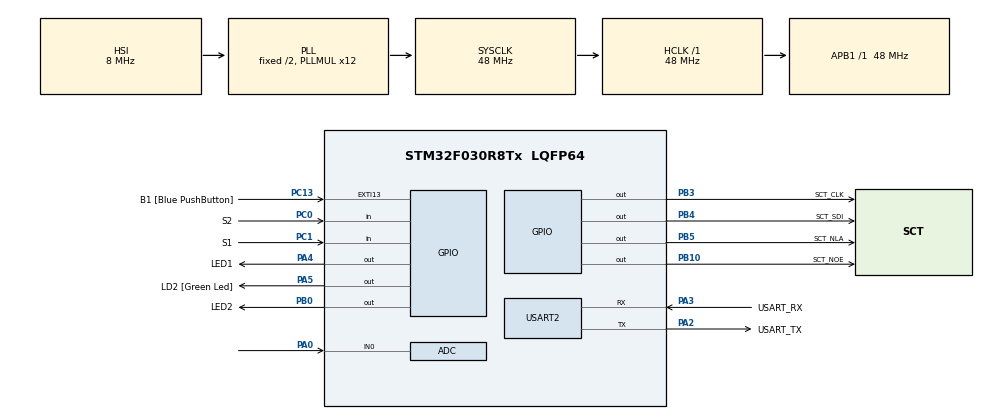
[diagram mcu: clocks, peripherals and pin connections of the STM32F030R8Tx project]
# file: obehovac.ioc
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ADC.ContinuousConvMode=ENABLE
ADC.Overrun=ADC_OVR_DATA_OVERWRITTEN
ADC.SamplingTime=ADC_SAMPLETIME_239CYCLES_5
Mcu.Family=STM32F0
Mcu.Name=STM32F030R8Tx
Mcu.Package=LQFP64
NVIC.ADC1_IRQn=true\:0\:0\:false\:false\:true\:true\:true\:true
PA0.Mode=IN0
PA0.Signal=ADC_IN0
PA13.GPIO_Label=TMS
PA13.Mode=Serial_Wire
PA13.Signal=SYS_SWDIO
PA14.GPIO_Label=TCK
PA14.Mode=Serial_Wire
PA14.Signal=SYS_SWCLK
PA2.GPIO_Label=USART_TX
PA2.GPIO_Mode=GPIO_MODE_AF_PP
PA2.GPIO_PuPd=GPIO_NOPULL
PA2.GPIO_Speed=GPIO_SPEED_FREQ_LOW
PA2.Mode=Asynchronous
PA2.Signal=USART2_TX
PA3.GPIO_Label=USART_RX
PA3.GPIO_Mode=GPIO_MODE_AF_PP
PA3.GPIO_PuPd=GPIO_NOPULL
PA3.GPIO_Speed=GPIO_SPEED_FREQ_LOW
PA3.Mode=Asynchronous
PA3.Signal=USART2_RX
PA4.GPIO_Label=LED1
PA4.Signal=GPIO_Output
PA5.GPIO_Label=LD2 [Green Led]
PA5.GPIO_Mode=GPIO_MODE_OUTPUT_PP
PA5.GPIO_PuPd=GPIO_NOPULL
PA5.GPIO_Speed=GPIO_SPEED_FREQ_LOW
PA5.Signal=GPIO_Output
PB0.GPIO_Label=LED2
PB0.Signal=GPIO_Output
PB10.GPIO_Label=SCT_NOE
PB10.Signal=GPIO_Output
PB3.GPIO_Label=SCT_CLK
PB3.Signal=GPIO_Output
PB4.GPIO_Label=SCT_SDI
PB4.Signal=GPIO_Output
PB5.GPIO_Label=SCT_NLA
PB5.Signal=GPIO_Output
PC0.GPIO_Label=S2
PC0.GPIO_PuPd=GPIO_PULLUP
PC0.Signal=GPIO_Input
PC1.GPIO_Label=S1
PC1.GPIO_PuPd=GPIO_PULLUP
PC1.Signal=GPIO_Input
PC13.GPIO_Label=B1 [Blue PushButton]
PC13.GPIO_ModeDefaultEXTI=GPIO_MODE_IT_FALLING
PC13.Signal=GPXTI13
PC14-OSC32_IN.Mode=LSE-External-Oscillator
PC14-OSC32_IN.Signal=RCC_OSC32_IN
PC15-OSC32_OUT.Mode=LSE-External-Oscillator
PC15-OSC32_OUT.Signal=RCC_OSC32_OUT
PF0-OSC_IN.Mode=HSE-External-Clock-Source
PF0-OSC_IN.Signal=RCC_OSC_IN
PF1-OSC_OUT.Signal=RCC_OSC_OUT
ProjectManager.HeapSize=0x200
ProjectManager.StackSize=0x400
ProjectManager.TargetToolchain=STM32CubeIDE
RCC.AHBFreq_Value=48000000
RCC.APB1Freq_Value=48000000
RCC.APB1TimFreq_Value=48000000
RCC.HCLKFreq_Value=48000000
RCC.PLLMUL=RCC_PLL_MUL12
RCC.SYSCLKFreq_VALUE=48000000
RCC.SYSCLKSource=RCC_SYSCLKSOURCE_PLLCLK
USART2.VirtualMode-Asynchronous=VM_ASYNC
board=NUCLEO-F030R8

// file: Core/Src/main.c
/* USER CODE BEGIN Header */
/**
 ******************************************************************************
 * @file           : main.c
 * @brief          : Main program body
 ******************************************************************************
 * @attention
 *
 * Copyright (c) 2025 STMicroelectronics.
 * All rights reserved.
 *
 * This software is licensed under terms that can be found in the LICENSE file
 * in the root directory of this software component.
 * If no LICENSE file comes with this software, it is provided AS-IS.
 *
 ******************************************************************************
 */
/* USER CODE END Header */
#include "main.h"

/* USER CODE BEGIN PD */
#include "sct.h"
#define ADC_Q 16
/* USER CODE END PD */

ADC_HandleTypeDef hadc;

UART_HandleTypeDef huart2;

/* USER CODE BEGIN PV */
static volatile uint32_t raw_pot;
static volatile uint32_t state;
static volatile uint32_t raw_temp;
/* USER CODE END PV */

void SystemClock_Config(void);
static void MX_GPIO_Init(void);
static void MX_USART2_UART_Init(void);
static void MX_ADC_Init(void);

/* USER CODE BEGIN 0 */
static enum {
	CLOCKWISE, COUNTERCLOCKWISE
} direction = CLOCKWISE;

void HAL_ADC_ConvCpltCallback(ADC_HandleTypeDef *hadc) {
	static uint8_t channel;
	static uint32_t avg_pot;

	switch (channel) {
	case 0: // ADC_CHANNEL_0 - potentiometer
		raw_pot = avg_pot >> ADC_Q;
		avg_pot -= raw_pot;
		avg_pot += HAL_ADC_GetValue(hadc);
		break;

	default:
		break;
	}

	if (__HAL_ADC_GET_FLAG(hadc, ADC_FLAG_EOS))
		channel = 0;
	else
		channel++;
}

void button(void) {
	static uint16_t debounce_t1 = 0xFFFF;
	static uint16_t debounce_t2 = 0xFFFF;
	static uint32_t timer;

	if (HAL_GetTick() > timer + 5) {
		debounce_t1 <<= 1;
		debounce_t2 <<= 1;
		if (HAL_GPIO_ReadPin(S1_GPIO_Port, S1_Pin) == 0)
			debounce_t1 |= 0x0001;
		if (debounce_t1 == 0x7FFF) {

			direction = COUNTERCLOCKWISE;
		}
		if (HAL_GPIO_ReadPin(S2_GPIO_Port, S2_Pin) == 0)
			debounce_t2 |= 0x0001;
		if (debounce_t2 == 0x7FFF) {
			direction = CLOCKWISE;
		}
		timer = HAL_GetTick();
	}

}
/* USER CODE END 0 */

int main(void) {

	/* MCU Configuration--------------------------------------------------------*/

	/* Reset of all peripherals, Initializes the Flash interface and the Systick. */
	HAL_Init();

	/* Configure the system clock */
	SystemClock_Config();

	/* Initialize all configured peripherals */
	MX_GPIO_Init();
	MX_USART2_UART_Init();
	MX_ADC_Init();
	/* USER CODE BEGIN 2 */
	HAL_ADCEx_Calibration_Start(&hadc);
	HAL_ADC_Start_IT(&hadc);

	sct_init();
	uint32_t last_update = 0;
	uint16_t rescaled_pot;
	int8_t counter = 0;

	/* USER CODE END 2 */

	/* Infinite loop */
	while (1) {

		/* USER CODE BEGIN 3 */
		button();

		if (direction == CLOCKWISE && counter > 9) {
			counter = 0;
		} else if (direction == COUNTERCLOCKWISE && counter < 0) {
			counter = 9;
		}

		rescaled_pot = 50 + ((raw_pot * 150) / 4095);

		switch (direction) {
		case CLOCKWISE: {
			HAL_GPIO_WritePin(LED2_GPIO_Port, LED2_Pin, 0);
			HAL_GPIO_WritePin(LED1_GPIO_Port, LED1_Pin, 1);

			if (HAL_GetTick() > (last_update + rescaled_pot)) {
				sct_value(counter);  // Display the current value
				last_update = HAL_GetTick();
				counter++;
			}
			break;
			}

		case COUNTERCLOCKWISE: {
			HAL_GPIO_WritePin(LED1_GPIO_Port, LED1_Pin, 0);
			HAL_GPIO_WritePin(LED2_GPIO_Port, LED2_Pin, 1);
			if (HAL_GetTick() > (last_update + rescaled_pot)) {
				sct_value(counter);  // Display the current value
				last_update = HAL_GetTick();
				counter--;
			}
			break;
			}
		}
	}
	/* USER CODE END 3 */
}

void SystemClock_Config(void) {
	RCC_OscInitTypeDef RCC_OscInitStruct = { 0 };
	RCC_ClkInitTypeDef RCC_ClkInitStruct = { 0 };

	/** Initializes the RCC Oscillators according to the specified parameters
	 * in the RCC_OscInitTypeDef structure.
	 */
	RCC_OscInitStruct.OscillatorType = RCC_OSCILLATORTYPE_HSI
			| RCC_OSCILLATORTYPE_HSI14;
	RCC_OscInitStruct.HSIState = RCC_HSI_ON;
	RCC_OscInitStruct.HSI14State = RCC_HSI14_ON;
	RCC_OscInitStruct.HSICalibrationValue = RCC_HSICALIBRATION_DEFAULT;
	RCC_OscInitStruct.HSI14CalibrationValue = 16;
	RCC_OscInitStruct.PLL.PLLState = RCC_PLL_ON;
	RCC_OscInitStruct.PLL.PLLSource = RCC_PLLSOURCE_HSI;
	RCC_OscInitStruct.PLL.PLLMUL = RCC_PLL_MUL12;
	RCC_OscInitStruct.PLL.PREDIV = RCC_PREDIV_DIV1;
	if (HAL_RCC_OscConfig(&RCC_OscInitStruct) != HAL_OK) {
		Error_Handler();
	}

	/** Initializes the CPU, AHB and APB buses clocks
	 */
	RCC_ClkInitStruct.ClockType = RCC_CLOCKTYPE_HCLK | RCC_CLOCKTYPE_SYSCLK
			| RCC_CLOCKTYPE_PCLK1;
	RCC_ClkInitStruct.SYSCLKSource = RCC_SYSCLKSOURCE_PLLCLK;
	RCC_ClkInitStruct.AHBCLKDivider = RCC_SYSCLK_DIV1;
	RCC_ClkInitStruct.APB1CLKDivider = RCC_HCLK_DIV1;

	if (HAL_RCC_ClockConfig(&RCC_ClkInitStruct, FLASH_LATENCY_1) != HAL_OK) {
		Error_Handler();
	}
}

static void MX_ADC_Init(void) {

	ADC_ChannelConfTypeDef sConfig = { 0 };

	/** Configure the global features of the ADC (Clock, Resolution, Data Alignment and number of conversion)
	 */
	hadc.Instance = ADC1;
	hadc.Init.ClockPrescaler = ADC_CLOCK_ASYNC_DIV1;
	hadc.Init.Resolution = ADC_RESOLUTION_12B;
	hadc.Init.DataAlign = ADC_DATAALIGN_RIGHT;
	hadc.Init.ScanConvMode = ADC_SCAN_DIRECTION_FORWARD;
	hadc.Init.EOCSelection = ADC_EOC_SINGLE_CONV;
	hadc.Init.LowPowerAutoWait = DISABLE;
	hadc.Init.LowPowerAutoPowerOff = DISABLE;
	hadc.Init.ContinuousConvMode = ENABLE;
	hadc.Init.DiscontinuousConvMode = DISABLE;
	hadc.Init.ExternalTrigConv = ADC_SOFTWARE_START;
	hadc.Init.ExternalTrigConvEdge = ADC_EXTERNALTRIGCONVEDGE_NONE;
	hadc.Init.DMAContinuousRequests = DISABLE;
	hadc.Init.Overrun = ADC_OVR_DATA_OVERWRITTEN;
	if (HAL_ADC_Init(&hadc) != HAL_OK) {
		Error_Handler();
	}

	/** Configure for the selected ADC regular channel to be converted.
	 */
	sConfig.Channel = ADC_CHANNEL_0;
	sConfig.Rank = ADC_RANK_CHANNEL_NUMBER;
	sConfig.SamplingTime = ADC_SAMPLETIME_239CYCLES_5;
	if (HAL_ADC_ConfigChannel(&hadc, &sConfig) != HAL_OK) {
		Error_Handler();
	}

}

static void MX_USART2_UART_Init(void) {

	huart2.Instance = USART2;
	huart2.Init.BaudRate = 38400;
	huart2.Init.WordLength = UART_WORDLENGTH_8B;
	huart2.Init.StopBits = UART_STOPBITS_1;
	huart2.Init.Parity = UART_PARITY_NONE;
	huart2.Init.Mode = UART_MODE_TX_RX;
	huart2.Init.HwFlowCtl = UART_HWCONTROL_NONE;
	huart2.Init.OverSampling = UART_OVERSAMPLING_16;
	huart2.Init.OneBitSampling = UART_ONE_BIT_SAMPLE_DISABLE;
	huart2.AdvancedInit.AdvFeatureInit = UART_ADVFEATURE_NO_INIT;
	if (HAL_UART_Init(&huart2) != HAL_OK) {
		Error_Handler();
	}

}

static void MX_GPIO_Init(void) {
	GPIO_InitTypeDef GPIO_InitStruct = { 0 };

	/* GPIO Ports Clock Enable */
	__HAL_RCC_GPIOC_CLK_ENABLE();
	__HAL_RCC_GPIOF_CLK_ENABLE();
	__HAL_RCC_GPIOA_CLK_ENABLE();
	__HAL_RCC_GPIOB_CLK_ENABLE();

	/*Configure GPIO pin Output Level */
	HAL_GPIO_WritePin(GPIOA, LED1_Pin | LD2_Pin, GPIO_PIN_RESET);

	/*Configure GPIO pin Output Level */
	HAL_GPIO_WritePin(GPIOB,
	LED2_Pin | SCT_NOE_Pin | SCT_CLK_Pin | SCT_SDI_Pin | SCT_NLA_Pin,
			GPIO_PIN_RESET);

	/*Configure GPIO pin : B1_Pin */
	GPIO_InitStruct.Pin = B1_Pin;
	GPIO_InitStruct.Mode = GPIO_MODE_IT_FALLING;
	GPIO_InitStruct.Pull = GPIO_NOPULL;
	HAL_GPIO_Init(B1_GPIO_Port, &GPIO_InitStruct);

	/*Configure GPIO pins : S2_Pin S1_Pin */
	GPIO_InitStruct.Pin = S2_Pin | S1_Pin;
	GPIO_InitStruct.Mode = GPIO_MODE_INPUT;
	GPIO_InitStruct.Pull = GPIO_PULLUP;
	HAL_GPIO_Init(GPIOC, &GPIO_InitStruct);

	/*Configure GPIO pins : LED1_Pin LD2_Pin */
	GPIO_InitStruct.Pin = LED1_Pin | LD2_Pin;
	GPIO_InitStruct.Mode = GPIO_MODE_OUTPUT_PP;
	GPIO_InitStruct.Pull = GPIO_NOPULL;
	GPIO_InitStruct.Speed = GPIO_SPEED_FREQ_LOW;
	HAL_GPIO_Init(GPIOA, &GPIO_InitStruct);

	/*Configure GPIO pins : LED2_Pin SCT_NOE_Pin SCT_CLK_Pin SCT_SDI_Pin
	 SCT_NLA_Pin */
	GPIO_InitStruct.Pin = LED2_Pin | SCT_NOE_Pin | SCT_CLK_Pin | SCT_SDI_Pin
			| SCT_NLA_Pin;
	GPIO_InitStruct.Mode = GPIO_MODE_OUTPUT_PP;
	GPIO_InitStruct.Pull = GPIO_NOPULL;
	GPIO_InitStruct.Speed = GPIO_SPEED_FREQ_LOW;
	HAL_GPIO_Init(GPIOB, &GPIO_InitStruct);

}

void Error_Handler(void) {
	__disable_irq();
	while (1) {
	}
}
